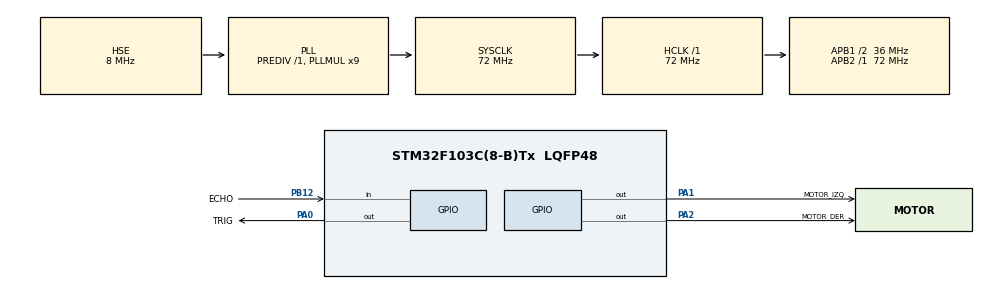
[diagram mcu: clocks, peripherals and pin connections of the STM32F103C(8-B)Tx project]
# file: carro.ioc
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Mcu.Family=STM32F1
Mcu.Name=STM32F103C(8-B)Tx
Mcu.Package=LQFP48
NVIC.PriorityGroup=NVIC_PRIORITYGROUP_4
PA0-WKUP.GPIO_Label=TRIG
PA0-WKUP.Signal=GPIO_Output
PA1.GPIO_Label=MOTOR_IZQ
PA1.Signal=GPIO_Output
PA13.Mode=Serial_Wire
PA13.Signal=SYS_JTMS-SWDIO
PA14.Mode=Serial_Wire
PA14.Signal=SYS_JTCK-SWCLK
PA2.GPIO_Label=MOTOR_DER
PA2.Signal=GPIO_Output
PB12.GPIO_Label=ECHO
PB12.Signal=GPIO_Input
PD0-OSC_IN.Mode=HSE-External-Oscillator
PD0-OSC_IN.Signal=RCC_OSC_IN
PD1-OSC_OUT.Mode=HSE-External-Oscillator
PD1-OSC_OUT.Signal=RCC_OSC_OUT
ProjectManager.HeapSize=0x200
ProjectManager.StackSize=0x400
ProjectManager.TargetToolchain=STM32CubeIDE
RCC.AHBFreq_Value=72000000
RCC.APB1CLKDivider=RCC_HCLK_DIV2
RCC.APB1Freq_Value=36000000
RCC.APB1TimFreq_Value=72000000
RCC.APB2Freq_Value=72000000
RCC.APB2TimFreq_Value=72000000
RCC.HCLKFreq_Value=72000000
RCC.PLLMUL=RCC_PLL_MUL9
RCC.PLLSourceVirtual=RCC_PLLSOURCE_HSE
RCC.SYSCLKFreq_VALUE=72000000
RCC.SYSCLKSource=RCC_SYSCLKSOURCE_PLLCLK
RCC.USBFreq_Value=72000000
TIM2.Prescaler=71
TIM3.Prescaler=7199
VP_TIM2_VS_ClockSourceINT.Mode=Internal
VP_TIM3_VS_ClockSourceINT.Mode=Internal
board=custom

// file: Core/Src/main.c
/* USER CODE BEGIN Header */
/**
  ******************************************************************************
  * @file           : main.c
  * @brief          : Main program body
  ******************************************************************************
  * @attention
  *
  * Copyright (c) 2026 STMicroelectronics.
  * All rights reserved.
  *
  * This software is licensed under terms that can be found in the LICENSE file
  * in the root directory of this software component.
  * If no LICENSE file comes with this software, it is provided AS-IS.
  *
  ******************************************************************************
  */
/* USER CODE END Header */
#include "main.h"

/* USER CODE BEGIN PD */
/* ---------- Distancias en cm ---------- */
#define DIST_OBJETIVO_CM   9.0f   /* donde debe quedar el carro                   */
#define DIST_FRENADO_CM     5.0f   /* lo que se desliza al cortar: MEDIR y ajustar */
#define TOLERANCIA_CM       1.0f   /* margen para darse por llegado                */
#define HISTERESIS_CM       5.0f   /* si el obstaculo se aleja esto, vuelve a ir   */
#define ZONA_LENTA_CM      30.0f   /* error por debajo del cual trocea y va lento  */
#define DIST_SIN_ECO_CM   400.0f   /* valor usado cuando no hay eco                */

/* ---------- Tiempos de motor en ms (TIM3: 1 tick = 0.1 ms) ----------
 * Lejos: el motor sigue encendido durante los 60 ms de la medicion, asi
 * que va a potencia plena. Cerca: se apaga para medir (tres lecturas) y
 * solo se enciende T_ON_CERCA_MS, con lo que baja la velocidad.       */
#define T_ON_LEJOS_MS         70   /* encendido por vuelta cuando esta lejos       */
#define T_ON_CERCA_MS         35   /* encendido por vuelta cerca del objetivo      */
#define T_ARRANQUE_MS        300   /* primer empujon para vencer la friccion       */

/* ---------- Compensacion de trayectoria ----------
 * Se le restan ms al motor que empuja de mas. Si el carro se desvia a la
 * DERECHA, el motor izquierdo es el rapido: sube COMP_IZQ_MS.          */
#define COMP_IZQ_MS            25
#define COMP_DER_MS            20

/* ---------- Mediciones fallidas ---------- */
#define FALLOS_PARA_PARAR      3   /* lecturas malas seguidas antes de frenar      */

/* ---------- Tiempos del sensor en us (TIM2: 1 tick = 1 us) ---------- */
#define TIMEOUT_SUBIDA_US   5000
#define TIMEOUT_ECO_US     40000
#define CICLO_MEDICION_US  60000
/* USER CODE END PD */

/* USER CODE BEGIN PM */
#define IZQ_ON()     HAL_GPIO_WritePin(MOTOR_IZQ_GPIO_Port, MOTOR_IZQ_Pin, GPIO_PIN_SET)
#define IZQ_OFF()    HAL_GPIO_WritePin(MOTOR_IZQ_GPIO_Port, MOTOR_IZQ_Pin, GPIO_PIN_RESET)
#define DER_ON()     HAL_GPIO_WritePin(MOTOR_DER_GPIO_Port, MOTOR_DER_Pin, GPIO_PIN_SET)
#define DER_OFF()    HAL_GPIO_WritePin(MOTOR_DER_GPIO_Port, MOTOR_DER_Pin, GPIO_PIN_RESET)
#define MOTOR_ON()   do { IZQ_ON();  DER_ON();  } while(0)
#define MOTOR_OFF()  do { IZQ_OFF(); DER_OFF(); } while(0)
/* USER CODE END PM */

TIM_HandleTypeDef htim2;
TIM_HandleTypeDef htim3;

/* USER CODE BEGIN PV */
static uint8_t llegado = 0;
static uint8_t en_marcha = 0;              /* 1 = el carro ya venia rodando  */
static float   error_prev = 1000.0f;       /* error de la vuelta anterior    */
static float   d_valida = DIST_SIN_ECO_CM; /* ultima lectura buena           */
static uint8_t fallos = 0;                 /* lecturas malas consecutivas    */
/* USER CODE END PV */

void SystemClock_Config(void);
static void MX_GPIO_Init(void);
static void MX_TIM2_Init(void);
static void MX_TIM3_Init(void);
/* USER CODE BEGIN PFP */
static void  espera_ms(uint16_t ms);
static void  motor_on_compensado(void);
static void  motor_pulso(uint16_t t_ms);
static float medir_cm(void);
static float medir_estable_cm(void);
/* USER CODE END PFP */

/* USER CODE BEGIN 0 */

/* Espera bloqueante con TIM3 (maximo 6553 ms) */
static void espera_ms(uint16_t ms)
{
  __HAL_TIM_SET_COUNTER(&htim3, 0);
  while (__HAL_TIM_GET_COUNTER(&htim3) < ((uint32_t)ms * 10U));
}

/* Enciende los dos motores, pero al mas rapido lo arranca con retardo.
 * Asi la compensacion tambien actua durante la fase de medicion. */
static void motor_on_compensado(void)
{
  if (COMP_IZQ_MS == COMP_DER_MS)
  {
    MOTOR_ON();
  }
  else if (COMP_IZQ_MS > COMP_DER_MS)
  {
    DER_ON();
    espera_ms((uint16_t)(COMP_IZQ_MS - COMP_DER_MS));
    IZQ_ON();
  }
  else
  {
    IZQ_ON();
    espera_ms((uint16_t)(COMP_DER_MS - COMP_IZQ_MS));
    DER_ON();
  }
}

/* Un tramo de empuje. Al motor mas rapido se le restan sus ms de
 * compensacion, de modo que se apaga antes y el carro no se desvia. */
static void motor_pulso(uint16_t t_ms)
{
  uint16_t ti = (t_ms > COMP_IZQ_MS) ? (uint16_t)(t_ms - COMP_IZQ_MS) : 0;
  uint16_t td = (t_ms > COMP_DER_MS) ? (uint16_t)(t_ms - COMP_DER_MS) : 0;
  uint16_t tmin = (ti < td) ? ti : td;
  uint16_t tmax = (ti > td) ? ti : td;

  if (ti) IZQ_ON();
  if (td) DER_ON();

  espera_ms(tmin);
  if (ti < td)      IZQ_OFF();
  else if (td < ti) DER_OFF();

  espera_ms((uint16_t)(tmax - tmin));
  MOTOR_OFF();
}

/* Una medicion con TIM2 (1 us por tick). Siempre dura 60 ms en total,
 * asi dos llamadas seguidas respetan el tiempo minimo del HC-SR04.
 * No toca los motores: conservan el estado en que entren.
 * Devuelve cm, o -1 si no hubo eco. */
static float medir_cm(void)
{
  float d = -1.0f;
  uint32_t t1, t2;

  __HAL_TIM_SET_COUNTER(&htim2, 0);

  HAL_GPIO_WritePin(TRIG_GPIO_Port, TRIG_Pin, GPIO_PIN_SET);
  while (__HAL_TIM_GET_COUNTER(&htim2) < 10);
  HAL_GPIO_WritePin(TRIG_GPIO_Port, TRIG_Pin, GPIO_PIN_RESET);

  while (HAL_GPIO_ReadPin(ECHO_GPIO_Port, ECHO_Pin) == GPIO_PIN_RESET)
  {
    if (__HAL_TIM_GET_COUNTER(&htim2) > TIMEOUT_SUBIDA_US) goto fin;
  }
  t1 = __HAL_TIM_GET_COUNTER(&htim2);

  while (HAL_GPIO_ReadPin(ECHO_GPIO_Port, ECHO_Pin) == GPIO_PIN_SET)
  {
    if ((__HAL_TIM_GET_COUNTER(&htim2) - t1) > TIMEOUT_ECO_US) goto fin;
  }
  t2 = __HAL_TIM_GET_COUNTER(&htim2);

  d = (float)(t2 - t1) / 58.0f;      /* ida y vuelta: 0.0343/2 cm/us = 1/58 */

fin:
  while (__HAL_TIM_GET_COUNTER(&htim2) < CICLO_MEDICION_US);
  return d;
}

/* Tres lecturas, se descartan las fallidas y se devuelve la mediana
 * (con dos validas, la menor, que es la opcion segura).
 * Devuelve -1 si ninguna sirvio. */
static float medir_estable_cm(void)
{
  float v[3], t;
  uint8_t n = 0, i;

  for (i = 0; i < 3; i++)
  {
    float x = medir_cm();
    if (x > 0.0f) v[n++] = x;
  }

  if (n == 0) return -1.0f;
  if (n == 1) return v[0];
  if (n == 2) return (v[0] < v[1]) ? v[0] : v[1];

  if (v[0] > v[1]) { t = v[0]; v[0] = v[1]; v[1] = t; }
  if (v[1] > v[2]) { t = v[1]; v[1] = v[2]; v[2] = t; }
  if (v[0] > v[1]) { t = v[0]; v[0] = v[1]; v[1] = t; }
  return v[1];
}
/* USER CODE END 0 */

int main(void)
{

  /* MCU Configuration--------------------------------------------------------*/

  /* Reset of all peripherals, Initializes the Flash interface and the Systick. */
  HAL_Init();

  /* Configure the system clock */
  SystemClock_Config();

  /* Initialize all configured peripherals */
  MX_GPIO_Init();
  MX_TIM2_Init();
  MX_TIM3_Init();
  /* USER CODE BEGIN 2 */
  HAL_TIM_Base_Start(&htim2);
  HAL_TIM_Base_Start(&htim3);
  MOTOR_OFF();
  HAL_GPIO_WritePin(TRIG_GPIO_Port, TRIG_Pin, GPIO_PIN_RESET);
  /* USER CODE END 2 */

  /* Infinite loop */
  /* USER CODE BEGIN WHILE */
  while (1)
  {
	uint8_t lejos = (en_marcha && !llegado && (error_prev > ZONA_LENTA_CM));
    float d;

    /* --- Medicion --- */
    if (lejos)
    {
      motor_on_compensado();          /* lejos: mide empujando */
      d = medir_cm();
    }
    else
    {
      MOTOR_OFF();                    /* cerca: frena y mide quieto, 3 lecturas */
      d = medir_estable_cm();
    }

    /* --- Tratamiento de lecturas fallidas: sin dato NO es camino libre --- */
    if (d < 0.0f)
    {
      fallos++;
      if (fallos >= FALLOS_PARA_PARAR) d = 0.0f;   /* sin datos: detenerse */
      else                             d = d_valida;
    }
    else
    {
      fallos = 0;
      d_valida = d;
    }

    float error = d - (DIST_OBJETIVO_CM + DIST_FRENADO_CM);
    error_prev = error;

    /* --- Decision de marcha, con histeresis --- */
    if (llegado)
    {
      if (error > HISTERESIS_CM) llegado = 0;
    }
    else if (error <= TOLERANCIA_CM)
    {
      llegado = 1;
    }

    if (llegado)
    {
      MOTOR_OFF();
      en_marcha = 0;                  /* quieto en el objetivo */
    }
    else
    {
      uint16_t t_on;

      if (!en_marcha)
      {
        t_on = T_ARRANQUE_MS;         /* empujon inicial contra la friccion */
        en_marcha = 1;
      }
      else if (error > ZONA_LENTA_CM)
      {
        t_on = T_ON_LEJOS_MS;
      }
      else
      {
        t_on = T_ON_CERCA_MS;         /* cerca: tramos cortos, va mas lento */
      }

      motor_pulso(t_on);
    }
    /* USER CODE END WHILE */

  }
}

void SystemClock_Config(void)
{
  RCC_OscInitTypeDef RCC_OscInitStruct = {0};
  RCC_ClkInitTypeDef RCC_ClkInitStruct = {0};

  /** Initializes the RCC Oscillators according to the specified parameters
  * in the RCC_OscInitTypeDef structure.
  */
  RCC_OscInitStruct.OscillatorType = RCC_OSCILLATORTYPE_HSE;
  RCC_OscInitStruct.HSEState = RCC_HSE_ON;
  RCC_OscInitStruct.HSEPredivValue = RCC_HSE_PREDIV_DIV1;
  RCC_OscInitStruct.HSIState = RCC_HSI_ON;
  RCC_OscInitStruct.PLL.PLLState = RCC_PLL_ON;
  RCC_OscInitStruct.PLL.PLLSource = RCC_PLLSOURCE_HSE;
  RCC_OscInitStruct.PLL.PLLMUL = RCC_PLL_MUL9;
  if (HAL_RCC_OscConfig(&RCC_OscInitStruct) != HAL_OK)
  {
    Error_Handler();
  }

  /** Initializes the CPU, AHB and APB buses clocks
  */
  RCC_ClkInitStruct.ClockType = RCC_CLOCKTYPE_HCLK|RCC_CLOCKTYPE_SYSCLK
                              |RCC_CLOCKTYPE_PCLK1|RCC_CLOCKTYPE_PCLK2;
  RCC_ClkInitStruct.SYSCLKSource = RCC_SYSCLKSOURCE_PLLCLK;
  RCC_ClkInitStruct.AHBCLKDivider = RCC_SYSCLK_DIV1;
  RCC_ClkInitStruct.APB1CLKDivider = RCC_HCLK_DIV2;
  RCC_ClkInitStruct.APB2CLKDivider = RCC_HCLK_DIV1;

  if (HAL_RCC_ClockConfig(&RCC_ClkInitStruct, FLASH_LATENCY_2) != HAL_OK)
  {
    Error_Handler();
  }
}

static void MX_TIM2_Init(void)
{

  TIM_ClockConfigTypeDef sClockSourceConfig = {0};
  TIM_MasterConfigTypeDef sMasterConfig = {0};

  htim2.Instance = TIM2;
  htim2.Init.Prescaler = 71;
  htim2.Init.CounterMode = TIM_COUNTERMODE_UP;
  htim2.Init.Period = 65535;
  htim2.Init.ClockDivision = TIM_CLOCKDIVISION_DIV1;
  htim2.Init.AutoReloadPreload = TIM_AUTORELOAD_PRELOAD_DISABLE;
  if (HAL_TIM_Base_Init(&htim2) != HAL_OK)
  {
    Error_Handler();
  }
  sClockSourceConfig.ClockSource = TIM_CLOCKSOURCE_INTERNAL;
  if (HAL_TIM_ConfigClockSource(&htim2, &sClockSourceConfig) != HAL_OK)
  {
    Error_Handler();
  }
  sMasterConfig.MasterOutputTrigger = TIM_TRGO_RESET;
  sMasterConfig.MasterSlaveMode = TIM_MASTERSLAVEMODE_DISABLE;
  if (HAL_TIMEx_MasterConfigSynchronization(&htim2, &sMasterConfig) != HAL_OK)
  {
    Error_Handler();
  }

}

static void MX_TIM3_Init(void)
{

  TIM_ClockConfigTypeDef sClockSourceConfig = {0};
  TIM_MasterConfigTypeDef sMasterConfig = {0};

  htim3.Instance = TIM3;
  htim3.Init.Prescaler = 7199;
  htim3.Init.CounterMode = TIM_COUNTERMODE_UP;
  htim3.Init.Period = 65535;
  htim3.Init.ClockDivision = TIM_CLOCKDIVISION_DIV1;
  htim3.Init.AutoReloadPreload = TIM_AUTORELOAD_PRELOAD_DISABLE;
  if (HAL_TIM_Base_Init(&htim3) != HAL_OK)
  {
    Error_Handler();
  }
  sClockSourceConfig.ClockSource = TIM_CLOCKSOURCE_INTERNAL;
  if (HAL_TIM_ConfigClockSource(&htim3, &sClockSourceConfig) != HAL_OK)
  {
    Error_Handler();
  }
  sMasterConfig.MasterOutputTrigger = TIM_TRGO_RESET;
  sMasterConfig.MasterSlaveMode = TIM_MASTERSLAVEMODE_DISABLE;
  if (HAL_TIMEx_MasterConfigSynchronization(&htim3, &sMasterConfig) != HAL_OK)
  {
    Error_Handler();
  }

}

static void MX_GPIO_Init(void)
{
  GPIO_InitTypeDef GPIO_InitStruct = {0};

  /* GPIO Ports Clock Enable */
  __HAL_RCC_GPIOD_CLK_ENABLE();
  __HAL_RCC_GPIOA_CLK_ENABLE();
  __HAL_RCC_GPIOB_CLK_ENABLE();

  /*Configure GPIO pin Output Level */
  HAL_GPIO_WritePin(GPIOA, TRIG_Pin|MOTOR_IZQ_Pin|MOTOR_DER_Pin, GPIO_PIN_RESET);

  /*Configure GPIO pins : TRIG_Pin MOTOR_IZQ_Pin MOTOR_DER_Pin */
  GPIO_InitStruct.Pin = TRIG_Pin|MOTOR_IZQ_Pin|MOTOR_DER_Pin;
  GPIO_InitStruct.Mode = GPIO_MODE_OUTPUT_PP;
  GPIO_InitStruct.Pull = GPIO_NOPULL;
  GPIO_InitStruct.Speed = GPIO_SPEED_FREQ_LOW;
  HAL_GPIO_Init(GPIOA, &GPIO_InitStruct);

  /*Configure GPIO pin : ECHO_Pin */
  GPIO_InitStruct.Pin = ECHO_Pin;
  GPIO_InitStruct.Mode = GPIO_MODE_INPUT;
  GPIO_InitStruct.Pull = GPIO_NOPULL;
  HAL_GPIO_Init(ECHO_GPIO_Port, &GPIO_InitStruct);

}

void Error_Handler(void)
{
  __disable_irq();
  while (1)
  {
  }
}
